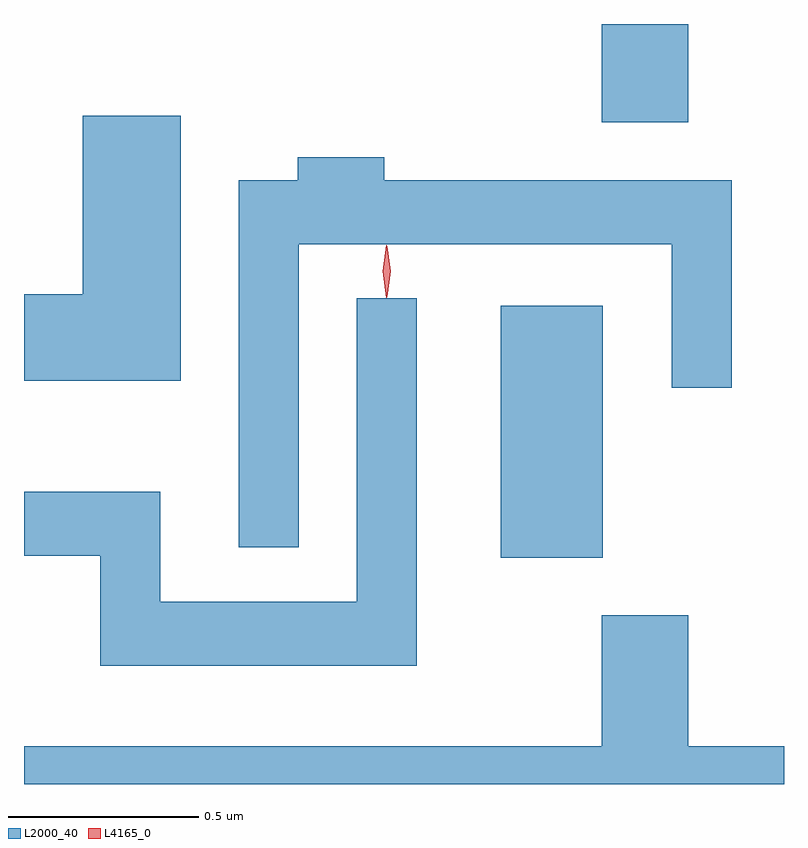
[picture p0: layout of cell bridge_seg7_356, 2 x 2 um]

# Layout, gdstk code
import gdstk
lib = gdstk.Library(unit=1e-6, precision=1e-09)
def R(c, l, rs):  # rectangles x0, y0, x1, y1
    for r in rs: c.add(gdstk.rectangle(r[:2], r[2:], *l))
def P(c, l, *ps):  # polygons
    for p in ps: c.add(gdstk.Polygon(p, *l))
L2000_40 = (2000, 40)
L4165_0 = (4165, 0)

bridge_seg7_356 = lib.new_cell('bridge_seg7_356')
R(bridge_seg7_356, L2000_40, [(1160.236,1746.161,1160.504,1746.824), (1160.501,1747.306,1160.729,1747.565)])
P(bridge_seg7_356, L2000_40, [(1159.394,1747.324),(1159.136,1747.324),(1159.136,1746.854),(1158.981,1746.854),(1158.981,1746.626),(1159.394,1746.626)],
  [(1159.704,1746.986),(1160.686,1746.986),(1160.686,1746.608),(1160.844,1746.608),(1160.844,1747.154),(1159.929,1747.154),(1159.929,1747.214),(1159.701,1747.214),(1159.701,1747.154),(1159.546,1747.154),(1159.546,1746.188),(1159.704,1746.188)],
  [(1160.014,1746.843),(1159.856,1746.843),(1159.856,1746.044),(1159.339,1746.044),(1159.339,1746.334),(1158.981,1746.334),(1158.981,1746.166),(1159.181,1746.166),(1159.181,1745.876),(1160.014,1745.876)],
  [(1160.981,1745.664),(1160.729,1745.664),(1160.729,1746.009),(1160.501,1746.009),(1160.501,1745.664),(1158.981,1745.664),(1158.981,1745.565),(1160.981,1745.565)])
P(bridge_seg7_356, L4165_0, [(1159.934,1746.844),(1159.925,1746.914),(1159.934,1746.983),(1159.935,1746.983),(1159.935,1746.983),(1159.945,1746.914),(1159.935,1746.844),(1159.935,1746.844)],
  [(1159.936,1746.847),(1159.936,1746.847),(1159.926,1746.914),(1159.936,1746.98),(1159.936,1746.981),(1159.937,1746.98),(1159.946,1746.914),(1159.937,1746.847)])

lib.write_gds('bridge_seg7_356.gds')
